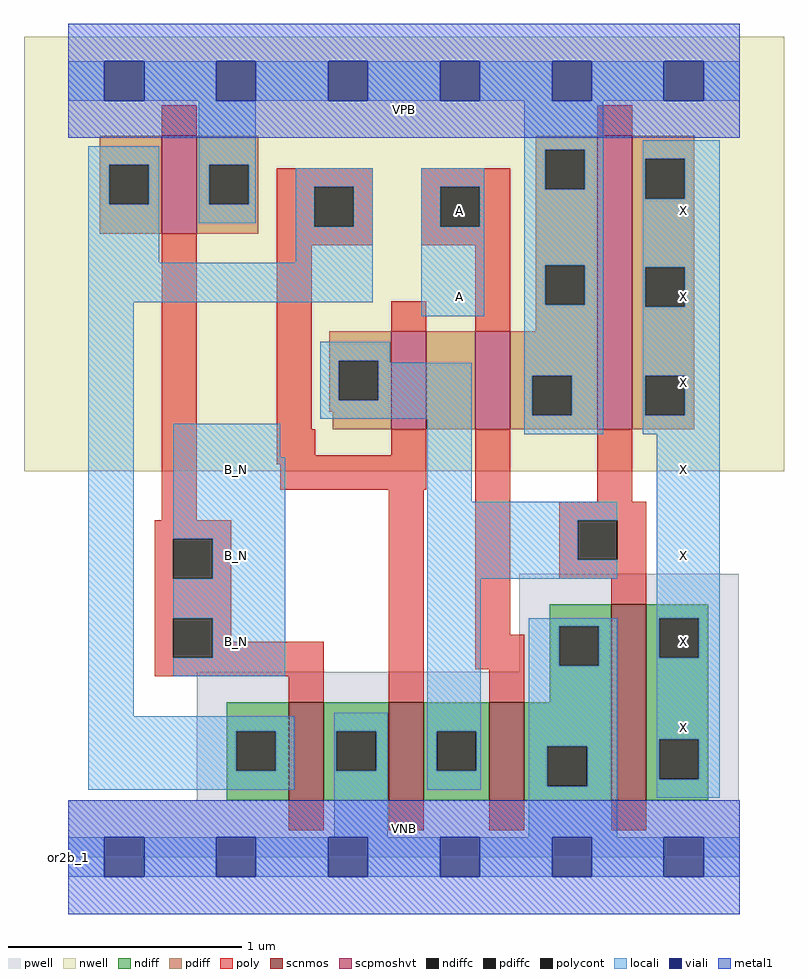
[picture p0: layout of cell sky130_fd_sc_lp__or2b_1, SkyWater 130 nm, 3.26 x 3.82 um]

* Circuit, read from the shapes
.subckt sky130_fd_sc_lp__or2b_1 A B_N VGND VNB VPB VPWR X
XM1 VGND B_N n1 VNB sky130_fd_pr__nfet_01v8 w=0.42 l=0.15
XM2 n2 n1 VGND VNB sky130_fd_pr__nfet_01v8 w=0.42 l=0.15
XM3 VGND A n2 VNB sky130_fd_pr__nfet_01v8 w=0.42 l=0.15
XM4 X n2 VGND VNB sky130_fd_pr__nfet_01v8 w=0.84 l=0.15
XM5 VPWR B_N n1 VPB sky130_fd_pr__pfet_01v8_hvt w=0.42 l=0.15
XM6 n3 n1 n2 VPB sky130_fd_pr__pfet_01v8_hvt w=0.42 l=0.15
XM7 VPWR A n3 VPB sky130_fd_pr__pfet_01v8_hvt w=0.42 l=0.15
XM8 X n2 VPWR VPB sky130_fd_pr__pfet_01v8_hvt w=1.26 l=0.15
.ends

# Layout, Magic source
magic
tech sky130A
magscale 1 2
<< nwell >>
rect -38 331 614 704
<< pwell >>
rect 387 159 575 243
rect 110 49 575 159
rect 0 0 576 49
<< scnmos >>
rect 189 49 219 133
rect 275 49 305 133
rect 361 49 391 133
rect 466 49 496 217
<< scpmoshvt >>
rect 80 535 110 619
rect 277 367 307 451
rect 349 367 379 451
rect 454 367 484 619
<< ndiff >>
rect 413 198 466 217
rect 413 164 421 198
rect 455 164 466 198
rect 413 133 466 164
rect 136 108 189 133
rect 136 74 144 108
rect 178 74 189 108
rect 136 49 189 74
rect 219 108 275 133
rect 219 74 230 108
rect 264 74 275 108
rect 219 49 275 74
rect 305 108 361 133
rect 305 74 316 108
rect 350 74 361 108
rect 305 49 361 74
rect 391 95 466 133
rect 391 61 411 95
rect 445 61 466 95
rect 391 49 466 61
rect 496 205 549 217
rect 496 171 507 205
rect 541 171 549 205
rect 496 101 549 171
rect 496 67 507 101
rect 541 67 549 101
rect 496 49 549 67
<< pdiff >>
rect 27 594 80 619
rect 27 560 35 594
rect 69 560 80 594
rect 27 535 80 560
rect 110 594 163 619
rect 110 560 121 594
rect 155 560 163 594
rect 401 607 454 619
rect 110 535 163 560
rect 401 573 409 607
rect 443 573 454 607
rect 401 508 454 573
rect 401 474 409 508
rect 443 474 454 508
rect 401 451 454 474
rect 224 426 277 451
rect 224 392 232 426
rect 266 392 277 426
rect 224 382 277 392
rect 227 367 277 382
rect 307 367 349 451
rect 379 413 454 451
rect 379 379 398 413
rect 432 379 454 413
rect 379 367 454 379
rect 484 599 537 619
rect 484 565 495 599
rect 529 565 537 599
rect 484 506 537 565
rect 484 472 495 506
rect 529 472 537 506
rect 484 413 537 472
rect 484 379 495 413
rect 529 379 537 413
rect 484 367 537 379
<< ndiffc >>
rect 421 164 455 198
rect 144 74 178 108
rect 230 74 264 108
rect 316 74 350 108
rect 411 61 445 95
rect 507 171 541 205
rect 507 67 541 101
<< pdiffc >>
rect 35 560 69 594
rect 121 560 155 594
rect 409 573 443 607
rect 409 474 443 508
rect 232 392 266 426
rect 398 379 432 413
rect 495 565 529 599
rect 495 472 529 506
rect 495 379 529 413
<< poly >>
rect 80 619 110 645
rect 454 619 484 645
rect 179 575 261 591
rect 179 541 211 575
rect 245 541 261 575
rect 80 289 110 535
rect 179 525 261 541
rect 303 575 379 591
rect 303 541 319 575
rect 353 541 379 575
rect 303 525 379 541
rect 179 367 209 525
rect 277 451 307 477
rect 349 451 379 525
rect 179 345 212 367
rect 277 345 307 367
rect 179 337 307 345
rect 182 315 307 337
rect 74 273 140 289
rect 74 239 90 273
rect 124 239 140 273
rect 74 205 140 239
rect 74 171 90 205
rect 124 185 140 205
rect 124 171 219 185
rect 74 155 219 171
rect 189 133 219 155
rect 275 133 305 315
rect 349 191 379 367
rect 454 305 484 367
rect 421 289 496 305
rect 421 255 437 289
rect 471 255 496 289
rect 421 239 496 255
rect 466 217 496 239
rect 349 161 391 191
rect 361 133 391 161
rect 189 23 219 49
rect 275 23 305 49
rect 361 23 391 49
rect 466 23 496 49
<< polycont >>
rect 211 541 245 575
rect 319 541 353 575
rect 90 239 124 273
rect 90 171 124 205
rect 437 255 471 289
<< locali >>
rect 0 649 31 683
rect 65 649 127 683
rect 161 649 223 683
rect 257 649 319 683
rect 353 649 415 683
rect 449 649 511 683
rect 545 649 576 683
rect 17 594 78 610
rect 17 560 35 594
rect 69 560 78 594
rect 17 510 78 560
rect 112 594 161 649
rect 112 560 121 594
rect 155 560 161 594
rect 391 607 459 649
rect 112 544 161 560
rect 195 575 261 591
rect 195 541 211 575
rect 245 541 261 575
rect 195 510 261 541
rect 17 476 261 510
rect 303 575 357 591
rect 303 541 319 575
rect 353 541 357 575
rect 17 121 56 476
rect 303 464 357 541
rect 391 573 409 607
rect 443 573 459 607
rect 391 508 459 573
rect 391 474 409 508
rect 443 474 459 508
rect 216 426 276 442
rect 216 392 232 426
rect 266 424 276 426
rect 266 392 346 424
rect 216 376 346 392
rect 90 343 182 372
rect 90 273 186 343
rect 124 239 186 273
rect 90 205 186 239
rect 124 171 186 205
rect 90 155 186 171
rect 308 305 346 376
rect 391 413 459 474
rect 391 379 398 413
rect 432 379 459 413
rect 391 363 459 379
rect 493 599 559 615
rect 493 565 495 599
rect 529 565 559 599
rect 493 506 559 565
rect 493 472 495 506
rect 529 472 559 506
rect 493 413 559 472
rect 493 379 495 413
rect 529 379 559 413
rect 493 363 559 379
rect 308 289 471 305
rect 308 255 437 289
rect 308 239 471 255
rect 17 108 194 121
rect 17 74 144 108
rect 178 74 194 108
rect 17 58 194 74
rect 228 108 274 124
rect 228 74 230 108
rect 264 74 274 108
rect 228 17 274 74
rect 308 108 354 239
rect 505 205 559 363
rect 308 74 316 108
rect 350 74 354 108
rect 308 58 354 74
rect 395 198 471 205
rect 395 164 421 198
rect 455 164 471 198
rect 395 95 471 164
rect 395 61 411 95
rect 445 61 471 95
rect 395 17 471 61
rect 505 171 507 205
rect 541 171 559 205
rect 505 101 559 171
rect 505 67 507 101
rect 541 67 559 101
rect 505 51 559 67
rect 0 -17 31 17
rect 65 -17 127 17
rect 161 -17 223 17
rect 257 -17 319 17
rect 353 -17 415 17
rect 449 -17 511 17
rect 545 -17 576 17
<< viali >>
rect 31 649 65 683
rect 127 649 161 683
rect 223 649 257 683
rect 319 649 353 683
rect 415 649 449 683
rect 511 649 545 683
rect 31 -17 65 17
rect 127 -17 161 17
rect 223 -17 257 17
rect 319 -17 353 17
rect 415 -17 449 17
rect 511 -17 545 17
<< metal1 >>
rect 0 683 576 715
rect 0 649 31 683
rect 65 649 127 683
rect 161 649 223 683
rect 257 649 319 683
rect 353 649 415 683
rect 449 649 511 683
rect 545 649 576 683
rect 0 617 576 649
rect 0 17 576 49
rect 0 -17 31 17
rect 65 -17 127 17
rect 161 -17 223 17
rect 257 -17 319 17
rect 353 -17 415 17
rect 449 -17 511 17
rect 545 -17 576 17
rect 0 -49 576 -17
<< labels >>
flabel pwell s 0 0 576 49 0 FreeSans 200 0 0 0 VNB
port 4 nsew ground bidirectional
flabel nwell s 0 617 576 666 0 FreeSans 200 0 0 0 VPB
port 5 nsew power bidirectional
rlabel comment s 0 0 0 0 4 or2b_1
flabel metal1 s 0 617 576 666 0 FreeSans 340 0 0 0 VPWR
port 6 nsew power bidirectional
flabel metal1 s 0 0 576 49 0 FreeSans 340 0 0 0 VGND
port 3 nsew ground bidirectional
flabel locali s 127 168 161 202 0 FreeSans 340 0 0 0 B_N
port 2 nsew signal input
flabel locali s 127 242 161 276 0 FreeSans 340 0 0 0 B_N
port 2 nsew signal input
flabel locali s 127 316 161 350 0 FreeSans 340 0 0 0 B_N
port 2 nsew signal input
flabel locali s 511 94 545 128 0 FreeSans 340 0 0 0 X
port 7 nsew signal output
flabel locali s 511 168 545 202 0 FreeSans 340 0 0 0 X
port 7 nsew signal output
flabel locali s 511 242 545 276 0 FreeSans 340 0 0 0 X
port 7 nsew signal output
flabel locali s 511 316 545 350 0 FreeSans 340 0 0 0 X
port 7 nsew signal output
flabel locali s 511 390 545 424 0 FreeSans 340 0 0 0 X
port 7 nsew signal output
flabel locali s 511 464 545 498 0 FreeSans 340 0 0 0 X
port 7 nsew signal output
flabel locali s 511 538 545 572 0 FreeSans 340 0 0 0 X
port 7 nsew signal output
flabel locali s 319 464 353 498 0 FreeSans 340 0 0 0 A
port 1 nsew signal input
flabel locali s 319 538 353 572 0 FreeSans 340 0 0 0 A
port 1 nsew signal input
<< properties >>
string LEFsite unit
string LEFclass CORE
string FIXED_BBOX 0 0 576 666
string GDS_FILE $PDKPATH/libs.ref/sky130_fd_sc_lp/gds/sky130_fd_sc_lp.gds
string LEFsymmetry X Y R90
string GDS_END 2237544
string GDS_START 2230990
<< end >>
